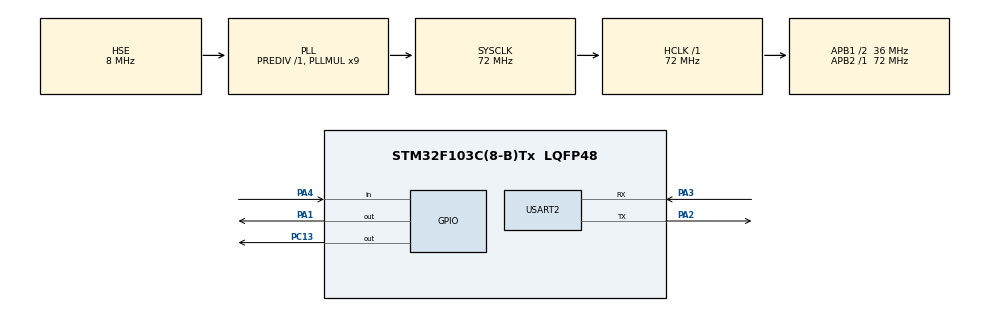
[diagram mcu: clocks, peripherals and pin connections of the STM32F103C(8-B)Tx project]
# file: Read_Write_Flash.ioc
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Mcu.Family=STM32F1
Mcu.Name=STM32F103C(8-B)Tx
Mcu.Package=LQFP48
NVIC.PriorityGroup=NVIC_PRIORITYGROUP_4
NVIC.USART2_IRQn=true\:0\:0\:false\:false\:true\:true\:true
PA1.Signal=GPIO_Output
PA13.Mode=Serial_Wire
PA13.Signal=SYS_JTMS-SWDIO
PA14.Mode=Serial_Wire
PA14.Signal=SYS_JTCK-SWCLK
PA2.Mode=Asynchronous
PA2.Signal=USART2_TX
PA3.Mode=Asynchronous
PA3.Signal=USART2_RX
PA4.Signal=GPIO_Input
PC13-TAMPER-RTC.Signal=GPIO_Output
PD0-OSC_IN.Mode=HSE-External-Oscillator
PD0-OSC_IN.Signal=RCC_OSC_IN
PD1-OSC_OUT.Mode=HSE-External-Oscillator
PD1-OSC_OUT.Signal=RCC_OSC_OUT
ProjectManager.HeapSize=0x200
ProjectManager.StackSize=0x400
ProjectManager.TargetToolchain=MDK-ARM V5.27
RCC.ADCPresc=RCC_ADCPCLK2_DIV6
RCC.AHBFreq_Value=72000000
RCC.APB1CLKDivider=RCC_HCLK_DIV2
RCC.APB1Freq_Value=36000000
RCC.APB1TimFreq_Value=72000000
RCC.APB2Freq_Value=72000000
RCC.APB2TimFreq_Value=72000000
RCC.HCLKFreq_Value=72000000
RCC.PLLMUL=RCC_PLL_MUL9
RCC.PLLSourceVirtual=RCC_PLLSOURCE_HSE
RCC.SYSCLKFreq_VALUE=72000000
RCC.SYSCLKSource=RCC_SYSCLKSOURCE_PLLCLK
RCC.USBFreq_Value=72000000
RTC.Date=7
RTC.Format=RTC_FORMAT_BIN
RTC.Month=RTC_MONTH_JULY
RTC.WeekDay=RTC_WEEKDAY_THURSDAY
RTC.Year=22
USART2.VirtualMode=VM_ASYNC
VP_RTC_VS_RTC_Activate.Mode=RTC_Enabled
VP_RTC_VS_RTC_Calendar.Mode=RTC_Calendar
board=custom

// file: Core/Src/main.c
/* USER CODE BEGIN Header */
/**
  ******************************************************************************
  * @file           : main.c
  * @brief          : Main program body
  ******************************************************************************
  * @attention
  *
  * <h2><center>&copy; Copyright (c) 2022 STMicroelectronics.
  * All rights reserved.</center></h2>
  *
  * This software component is licensed by ST under BSD 3-Clause license,
  * the "License"; You may not use this file except in compliance with the
  * License. You may obtain a copy of the License at:
  *                        opensource.org/licenses/BSD-3-Clause
  *
  ******************************************************************************
  */
/* USER CODE END Header */
#include "main.h"

/* USER CODE BEGIN Includes */
#include "flash.h"
#include "cJSON.h"
#include "DHT.h"
#include "stdio.h"
#include <stdbool.h>
#include <stdint.h>
#include <string.h>
#include <stdlib.h>
/* USER CODE END Includes */

/* USER CODE BEGIN PTD */
#define LENG	50
#define MAX		500
#define TIME	3 // 6*5=30min
/* USER CODE END PTD */

RTC_HandleTypeDef hrtc;

UART_HandleTypeDef huart2;

void SystemClock_Config(void);
static void MX_GPIO_Init(void);
static void MX_USART2_UART_Init(void);
static void MX_RTC_Init(void);
/* USER CODE BEGIN PFP */
void Task_Luu_Flash(void);
void Task_Gui_Tu_Flash(void);
void Task_Gui_Cho_Esp(void);
void Task_DHT11(void);
void Task_Tao_Data(float temperature, float humidity);
/* USER CODE END PFP */

/* USER CODE BEGIN 0 */
float temperature=1,humidity=1;
DHT_DataTypedef DHT11_Data;
char data_luu_json[MAX],JSON_Flash[MAX];
char str_temperature[LENG],str_humidity[LENG],JSON[LENG];
char Flash_To_ESP[LENG];
long long last_tick=0;
int flag_gui=1,flag_luu=0;
int count=0;
int so_lan_da_luu=0;
int flag_rx=0;
char luu_usrt[5];
char str_time[30];
RTC_TimeTypeDef sTime;
/* USER CODE END 0 */

int main(void)
{

  /* MCU Configuration--------------------------------------------------------*/

  /* Reset of all peripherals, Initializes the Flash interface and the Systick. */
  HAL_Init();

  /* Configure the system clock */
  SystemClock_Config();

  /* Initialize all configured peripherals */
  MX_GPIO_Init();
  MX_USART2_UART_Init();
  MX_RTC_Init();
  /* USER CODE BEGIN 2 */
	HAL_UART_Receive_IT(&huart2,(uint8_t *)&luu_usrt,5);
	last_tick=HAL_GetTick();// lay uwTich cua stm32
	for(int i=0;i<MAX;i++)
				{
					data_luu_json[i]=0;
				}
  /* USER CODE END 2 */

  /* Infinite loop */
  while (1)
  {

    /* USER CODE BEGIN 3 */
		//Task_DHT11();
		//----------nhap nhay led de bao van con hoat dong-------------//
		if (HAL_GetTick()-last_tick>=1000)
		{
			HAL_RTC_GetTime(&hrtc,&sTime,RTC_FORMAT_BIN);
			HAL_GPIO_TogglePin(GPIOC,GPIO_PIN_13);
			Task_DHT11();
			last_tick=HAL_GetTick();
		}

		//----------doc tin hieu yeu cau gui tu esp-------------------//
		if (flag_rx == 1)
		{
			//--------tu trang thai flash sang trang thai gui len esp----------------//
			if(flag_luu == 1 && flag_gui == 0)
			{
				Task_Gui_Tu_Flash();
				//HAL_UART_Transmit(&huart2,(uint8_t *)&JSON_Flash,MAX,1000);
			}
			//-------neu bat dau tu trang thai hoat dong esp----------//
			else
			{
				//---- xoa du lieu dat_json------///
				/*for(int i=0;i<MAX;i++)
				{
					data_luu_json[i]=0;
				}*/
				Task_Gui_Cho_Esp();
			}
			flag_luu=0;
			flag_gui=1;
			HAL_UART_Receive_IT(&huart2,(uint8_t *)&luu_usrt,5);
		}
		//-------------neu khong co tin hieu yeu cau tu esp----------//
		//-------------luu vao flash---------------------------------//
		else
		{
			Task_Luu_Flash();
			flag_gui=0;
			flag_luu=1;
			flag_rx=0;
			HAL_UART_Receive_IT(&huart2,(uint8_t *)&luu_usrt,5);
		}
		//last_tick=HAL_GetTick();

		HAL_Delay(1000);//delay 5s(test)
  }
  /* USER CODE END 3 */
}

void SystemClock_Config(void)
{
  RCC_OscInitTypeDef RCC_OscInitStruct = {0};
  RCC_ClkInitTypeDef RCC_ClkInitStruct = {0};
  RCC_PeriphCLKInitTypeDef PeriphClkInit = {0};

  /** Initializes the RCC Oscillators according to the specified parameters
  * in the RCC_OscInitTypeDef structure.
  */
  RCC_OscInitStruct.OscillatorType = RCC_OSCILLATORTYPE_LSI|RCC_OSCILLATORTYPE_HSE;
  RCC_OscInitStruct.HSEState = RCC_HSE_ON;
  RCC_OscInitStruct.HSEPredivValue = RCC_HSE_PREDIV_DIV1;
  RCC_OscInitStruct.HSIState = RCC_HSI_ON;
  RCC_OscInitStruct.LSIState = RCC_LSI_ON;
  RCC_OscInitStruct.PLL.PLLState = RCC_PLL_ON;
  RCC_OscInitStruct.PLL.PLLSource = RCC_PLLSOURCE_HSE;
  RCC_OscInitStruct.PLL.PLLMUL = RCC_PLL_MUL9;
  if (HAL_RCC_OscConfig(&RCC_OscInitStruct) != HAL_OK)
  {
    Error_Handler();
  }
  /** Initializes the CPU, AHB and APB buses clocks
  */
  RCC_ClkInitStruct.ClockType = RCC_CLOCKTYPE_HCLK|RCC_CLOCKTYPE_SYSCLK
                              |RCC_CLOCKTYPE_PCLK1|RCC_CLOCKTYPE_PCLK2;
  RCC_ClkInitStruct.SYSCLKSource = RCC_SYSCLKSOURCE_PLLCLK;
  RCC_ClkInitStruct.AHBCLKDivider = RCC_SYSCLK_DIV1;
  RCC_ClkInitStruct.APB1CLKDivider = RCC_HCLK_DIV2;
  RCC_ClkInitStruct.APB2CLKDivider = RCC_HCLK_DIV1;

  if (HAL_RCC_ClockConfig(&RCC_ClkInitStruct, FLASH_LATENCY_2) != HAL_OK)
  {
    Error_Handler();
  }
  PeriphClkInit.PeriphClockSelection = RCC_PERIPHCLK_RTC;
  PeriphClkInit.RTCClockSelection = RCC_RTCCLKSOURCE_LSI;
  if (HAL_RCCEx_PeriphCLKConfig(&PeriphClkInit) != HAL_OK)
  {
    Error_Handler();
  }
}

static void MX_RTC_Init(void)
{

  RTC_TimeTypeDef sTime ;
  RTC_DateTypeDef DateToUpdate ;
  RTC_AlarmTypeDef sAlarm ;

  /** Initialize RTC Only
  */
  hrtc.Instance = RTC;
  hrtc.Init.AsynchPrediv = RTC_AUTO_1_SECOND;
  hrtc.Init.OutPut = RTC_OUTPUTSOURCE_ALARM;
  if (HAL_RTC_Init(&hrtc) != HAL_OK)
  {
    Error_Handler();
  }

  /** Initialize RTC and set the Time and Date
  */
	if(HAL_RTCEx_BKUPRead(&hrtc,RTC_BKP_DR1)!=0x32F2)
	{
  sTime.Hours = 14;
  sTime.Minutes = 25;
  sTime.Seconds = 0;

  if (HAL_RTC_SetTime(&hrtc, &sTime, RTC_FORMAT_BIN) != HAL_OK)
  {
    Error_Handler();
  }
  DateToUpdate.WeekDay = RTC_WEEKDAY_THURSDAY;
  DateToUpdate.Month = RTC_MONTH_JULY;
  DateToUpdate.Date = 7;
  DateToUpdate.Year = 22;

  if (HAL_RTC_SetDate(&hrtc, &DateToUpdate, RTC_FORMAT_BIN) != HAL_OK)
  {
    Error_Handler();
  }
  /* USER CODE BEGIN RTC_Init 2 */
HAL_RTCEx_BKUPWrite(&hrtc,RTC_BKP_DR1,0x32F2);//
	}
  /* USER CODE END RTC_Init 2 */

}

static void MX_USART2_UART_Init(void)
{

  huart2.Instance = USART2;
  huart2.Init.BaudRate = 115200;
  huart2.Init.WordLength = UART_WORDLENGTH_8B;
  huart2.Init.StopBits = UART_STOPBITS_1;
  huart2.Init.Parity = UART_PARITY_NONE;
  huart2.Init.Mode = UART_MODE_TX_RX;
  huart2.Init.HwFlowCtl = UART_HWCONTROL_NONE;
  huart2.Init.OverSampling = UART_OVERSAMPLING_16;
  if (HAL_UART_Init(&huart2) != HAL_OK)
  {
    Error_Handler();
  }

}

static void MX_GPIO_Init(void)
{
  GPIO_InitTypeDef GPIO_InitStruct = {0};

  /* GPIO Ports Clock Enable */
  __HAL_RCC_GPIOC_CLK_ENABLE();
  __HAL_RCC_GPIOD_CLK_ENABLE();
  __HAL_RCC_GPIOA_CLK_ENABLE();

  /*Configure GPIO pin Output Level */
  HAL_GPIO_WritePin(GPIOC, GPIO_PIN_13, GPIO_PIN_RESET);

  /*Configure GPIO pin Output Level */
  HAL_GPIO_WritePin(GPIOA, GPIO_PIN_1, GPIO_PIN_RESET);

  /*Configure GPIO pin : PC13 */
  GPIO_InitStruct.Pin = GPIO_PIN_13;
  GPIO_InitStruct.Mode = GPIO_MODE_OUTPUT_PP;
  GPIO_InitStruct.Pull = GPIO_NOPULL;
  GPIO_InitStruct.Speed = GPIO_SPEED_FREQ_LOW;
  HAL_GPIO_Init(GPIOC, &GPIO_InitStruct);

  /*Configure GPIO pin : PA1 */
  GPIO_InitStruct.Pin = GPIO_PIN_1;
  GPIO_InitStruct.Mode = GPIO_MODE_OUTPUT_PP;
  GPIO_InitStruct.Pull = GPIO_NOPULL;
  GPIO_InitStruct.Speed = GPIO_SPEED_FREQ_LOW;
  HAL_GPIO_Init(GPIOA, &GPIO_InitStruct);

  /*Configure GPIO pin : PA4 */
  GPIO_InitStruct.Pin = GPIO_PIN_4;
  GPIO_InitStruct.Mode = GPIO_MODE_INPUT;
  GPIO_InitStruct.Pull = GPIO_NOPULL;
  HAL_GPIO_Init(GPIOA, &GPIO_InitStruct);

}

/* USER CODE BEGIN 4 */
void Task_DHT11(void)
{
		DHT_GetData(&DHT11_Data);
		temperature=DHT11_Data.Temperature;
		humidity=DHT11_Data.Humidity;
}
void Task_Time(void)
{
	HAL_RTC_GetTime(&hrtc,&sTime,RTC_FORMAT_BIN);
}
void Task_Tao_Data(float temperature,float humidity)
{
	//cau truc co ban cu json la:     {"temp":"giatri","humi":"giatri"}\n
	// data cuoi cung la 1 mang char

	//B1: xoa mang du lieu
	for (int i = 0;  i <LENG; i++) {
		str_time[i]=0;
		str_temperature[i]=0;
		str_humidity[i]=0;
		JSON[i]=0;
	}
	//HAL_RTC_GetTime(&hrtc,&sTime,RTC_FORMAT_BIN);
	//B2: chuyen du lieu ve char
	sprintf(str_time,"%02d:%02d:%02d",sTime.Hours,sTime.Minutes,sTime.Seconds);
	sprintf(str_temperature,"%.2f",temperature);
	sprintf(str_humidity,"%.2f",humidity);

	//B3: copy vao json
	strcat(JSON,"{\"");
	strcat(JSON,str_time);
	strcat(JSON,"\",");

	strcat(JSON,"\"temp\":\"");
	strcat(JSON,str_temperature);
	strcat(JSON,"\",");

	strcat(JSON,"\"humi\":\"");
	strcat(JSON,str_humidity);
	strcat(JSON,"\"}\n");

}
void Task_Luu_Flash(void)
{
	//---------sau 6 lan ghi vao data_luu_json moi ghi vao flash lai 1 lan---------//
	while(so_lan_da_luu < TIME)
	{

	Task_Tao_Data(temperature,humidity);
	so_lan_da_luu++;
	count++;

	//ghi du lieu vao data_luu_JSON
	strcat(data_luu_json,JSON);
	}
	Flash_Write_String((uint8_t *)&data_luu_json,_PAGE_118_,MAX);
		so_lan_da_luu=0;
		for (int i = 0;  i <MAX; i++)
				{
					data_luu_json[i]=0;
				}
}
void Task_Gui_Tu_Flash(void)
{
				for (int i = 0;  i <MAX; i++)
				{
					JSON_Flash[i]=0;
				}
				//doc theo byte
				Flash_Read_String((uint8_t *)&JSON_Flash,_PAGE_118_,MAX);// luu vao json_flash
				HAL_UART_Transmit(&huart2,(uint8_t *)&JSON_Flash,sizeof(JSON_Flash),1000);
				/*int t=0;
				int vitri=0;
				for(int i=0;i<TIME;i++)
				{
					for(int j=0;j<40;j++)
					{
						Flash_To_ESP[j]=JSON_Flash[t];
						t++;
					}
					HAL_UART_Transmit(&huart2,(uint8_t *)&Flash_To_ESP,40,1000);
				}
				count=0;*/
}
void Task_Gui_Cho_Esp(void)
{
	Task_Tao_Data(temperature,humidity);
	HAL_UART_Transmit(&huart2,(uint8_t *)&JSON,sizeof(JSON),1000);
}
void HAL_UART_RxCpltCallback(UART_HandleTypeDef *huart)
{
	flag_rx++;
}
/* USER CODE END 4 */

void Error_Handler(void)
{
  __disable_irq();
  while (1)
  {
  }
}

/************************ (C) COPYRIGHT STMicroelectronics *****END OF FILE****/
